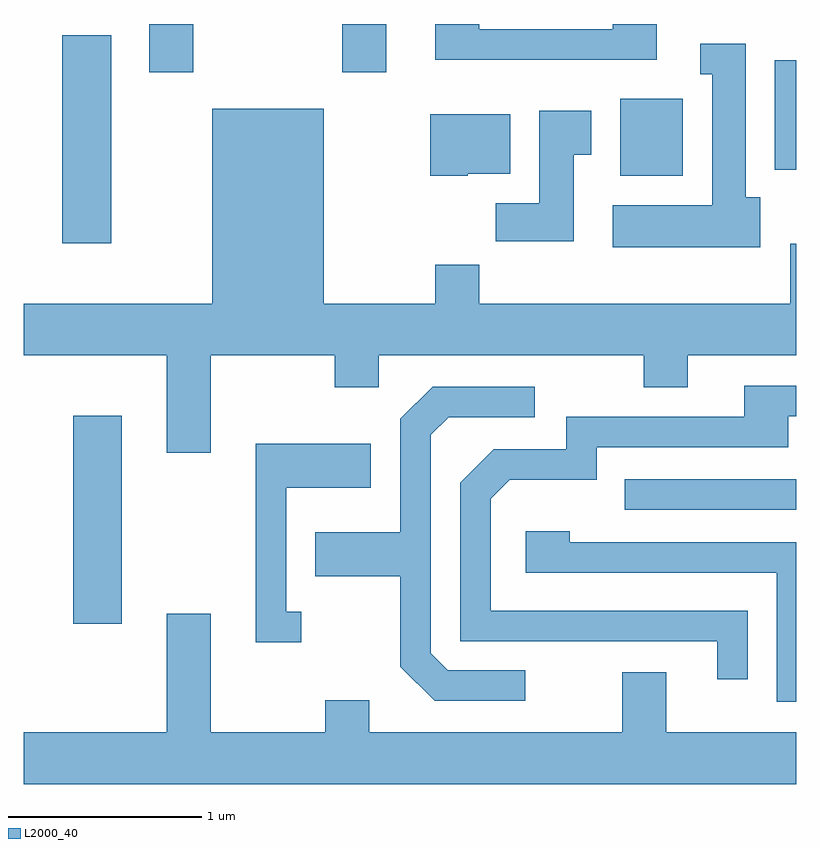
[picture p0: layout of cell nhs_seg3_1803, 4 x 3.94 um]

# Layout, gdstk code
import gdstk
lib = gdstk.Library(unit=1e-6, precision=1e-09)
def R(c, l, rs):  # rectangles x0, y0, x1, y1
    for r in rs: c.add(gdstk.rectangle(r[:2], r[2:], *l))
def P(c, l, *ps):  # polygons
    for p in ps: c.add(gdstk.Polygon(p, *l))
L2000_40 = (2000, 40)

nhs_seg3_1803 = lib.new_cell('nhs_seg3_1803')
R(nhs_seg3_1803, L2000_40, [(237.866,1186.786,238.119,1187.864), (240.723,1187.376,241.611,1187.534), (237.811,1188.756,238.064,1189.834), (240.701,1189.106,241.024,1189.504), (241.501,1189.136,241.611,1189.704), (238.261,1189.641,238.489,1189.892), (239.261,1189.641,239.489,1189.892)])
P(nhs_seg3_1803, L2000_40, [(240.889,1189.892),(240.661,1189.892),(240.661,1189.864),(239.969,1189.864),(239.969,1189.892),(239.741,1189.892),(239.741,1189.706),(240.889,1189.706)],
  [(241.424,1188.994),(241.349,1188.994),(241.349,1189.789),(241.113,1189.789),(241.113,1189.631),(241.176,1189.631),(241.176,1188.954),(240.661,1188.954),(240.661,1188.736),(241.424,1188.736)],
  [(238.579,1188.176),(239.221,1188.176),(239.221,1188.011),(239.449,1188.011),(239.449,1188.176),(240.821,1188.176),(240.821,1188.011),(241.049,1188.011),(241.049,1188.176),(241.611,1188.176),(241.611,1188.754),(241.581,1188.754),(241.581,1188.444),(239.969,1188.444),(239.969,1188.644),(239.741,1188.644),(239.741,1188.444),(239.164,1188.444),(239.164,1189.454),(238.586,1189.454),(238.586,1188.444),(237.611,1188.444),(237.611,1188.176),(238.351,1188.176),(238.351,1187.671),(238.579,1187.671)],
  [(240.459,1189.216),(240.549,1189.216),(240.549,1189.444),(240.281,1189.444),(240.281,1188.964),(240.056,1188.964),(240.056,1188.766),(240.459,1188.766)],
  [(239.91,1189.116),(240.129,1189.116),(240.129,1189.424),(239.716,1189.424),(239.716,1189.106),(239.91,1189.106)],
  [(241.359,1186.854),(240.029,1186.854),(240.029,1187.434),(240.127,1187.531),(240.579,1187.531),(240.579,1187.701),(241.569,1187.701),(241.569,1187.861),(241.611,1187.861),(241.611,1188.019),(241.341,1188.019),(241.341,1187.859),(240.421,1187.859),(240.421,1187.689),(240.044,1187.689),(239.871,1187.517),(239.871,1186.696),(241.201,1186.696),(241.201,1186.498),(241.359,1186.498)],
  [(240.208,1186.544),(239.807,1186.544),(239.719,1186.632),(239.719,1187.764),(239.812,1187.856),(240.258,1187.856),(240.258,1188.014),(239.729,1188.014),(239.561,1187.847),(239.561,1187.259),(239.121,1187.259),(239.121,1187.031),(239.561,1187.031),(239.561,1186.564),(239.739,1186.386),(240.208,1186.386)],
  [(239.048,1186.849),(238.969,1186.849),(238.969,1187.491),(239.409,1187.491),(239.409,1187.719),(238.811,1187.719),(238.811,1186.691),(239.048,1186.691)],
  [(241.611,1187.209),(240.439,1187.209),(240.439,1187.264),(240.211,1187.264),(240.211,1187.051),(241.511,1187.051),(241.511,1186.381),(241.611,1186.381)],
  [(241.611,1186.224),(240.939,1186.224),(240.939,1186.534),(240.711,1186.534),(240.711,1186.224),(239.399,1186.224),(239.399,1186.389),(239.171,1186.389),(239.171,1186.224),(238.579,1186.224),(238.579,1186.839),(238.351,1186.839),(238.351,1186.224),(237.611,1186.224),(237.611,1185.956),(241.611,1185.956)])

lib.write_gds('nhs_seg3_1803.gds')
